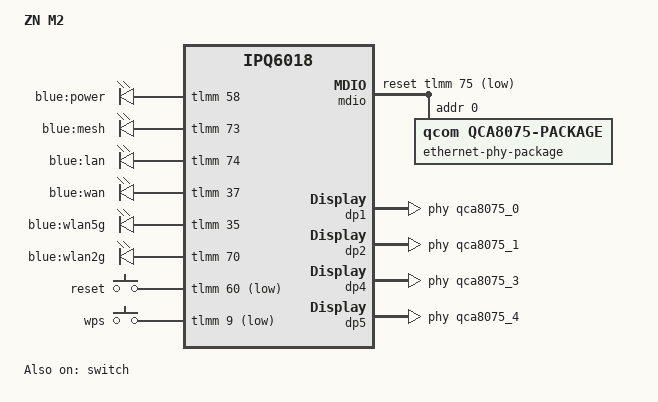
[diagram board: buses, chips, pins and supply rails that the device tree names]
// SPDX-License-Identifier: GPL-2.0-or-later OR MIT
//
// 兆能 M2 (ZN M2) 设备树 —— fallback 版
//
// 说明：本文件是 diy-part1.sh 步骤 A 注入的「兜底」DTS。
// 步骤 B 会优先从 qosmio/openwrt-ipq（或 LibWrt）拉取上游 NSS 版设备 DTS
// 覆盖本文件；只有上游拉取失败时才会用这一版。
//
// 本 fallback 仅依赖 ipq6018-nss.dtsi（由步骤 B 注入到同一目录），
// nss.dtsi 内部已包含基础 SoC 设备树，故本文件无需再 include 其它 dtsi。

/dts-v1/;

#include "ipq6018-nss.dtsi"

/ {
	model = "ZN M2";
	compatible = "zn,m2", "qcom,ipq6018";

	aliases {
		led-boot = &led_power;
		led-failsafe = &led_power;
		led-running = &led_power;
		led-upgrade = &led_power;
	};

	leds {
		compatible = "gpio-leds";

		led_power: power {
			label = "blue:power";
			gpios = <&tlmm 58 GPIO_ACTIVE_HIGH>;
		};

		mesh {
			label = "blue:mesh";
			gpios = <&tlmm 73 GPIO_ACTIVE_HIGH>;
		};

		lan {
			label = "blue:lan";
			gpios = <&tlmm 74 GPIO_ACTIVE_HIGH>;
		};

		wan {
			label = "blue:wan";
			gpios = <&tlmm 37 GPIO_ACTIVE_HIGH>;
		};

		wlan5g {
			label = "blue:wlan5g";
			gpios = <&tlmm 35 GPIO_ACTIVE_HIGH>;
		};

		wlan2g {
			label = "blue:wlan2g";
			gpios = <&tlmm 70 GPIO_ACTIVE_HIGH>;
		};
	};

	keys {
		compatible = "gpio-keys";

		reset {
			label = "reset";
			gpios = <&tlmm 60 GPIO_ACTIVE_LOW>;
			linux,code = <KEY_RESTART>;
		};

		wps {
			label = "wps";
			gpios = <&tlmm 9 GPIO_ACTIVE_LOW>;
			linux,code = <KEY_WPS_BUTTON>;
		};
	};
};

&mdio {
	status = "okay";

	pinctrl-0 = <&mdio_pins>;
	pinctrl-names = "default";
	reset-gpios = <&tlmm 75 GPIO_ACTIVE_LOW>;

	ethernet-phy-package@0 {
		compatible = "qcom,qca8075-package";
		#address-cells = <1>;
		#size-cells = <0>;
		reg = <0>;

		qca8075_0: ethernet-phy@0 {
			compatible = "ethernet-phy-ieee802.3-c22";
			reg = <0>;
		};

		qca8075_1: ethernet-phy@1 {
			compatible = "ethernet-phy-ieee802.3-c22";
			reg = <1>;
		};

		qca8075_3: ethernet-phy@3 {
			compatible = "ethernet-phy-ieee802.3-c22";
			reg = <3>;
		};

		qca8075_4: ethernet-phy@4 {
			compatible = "ethernet-phy-ieee802.3-c22";
			reg = <4>;
		};
	};
};

&switch {
	status = "okay";

	switch_lan_bmp = <(ESS_PORT1 | ESS_PORT2 | ESS_PORT4)>;
	switch_wan_bmp = <ESS_PORT5>;
	switch_mac_mode = <MAC_MODE_PSGMII>;

	qcom,port_phyinfo {
		port@1 {
			port_id = <1>;
			phy_address = <0>;
		};

		port@2 {
			port_id = <2>;
			phy_address = <1>;
		};

		port@4 {
			port_id = <4>;
			phy_address = <3>;
		};

		port@5 {
			port_id = <5>;
			phy_address = <4>;
		};
	};
};

&dp1 {
	status = "okay";
	phy-handle = <&qca8075_0>;
	label = "lan3";
};

&dp2 {
	status = "okay";
	phy-handle = <&qca8075_1>;
	label = "lan2";
};

&dp4 {
	status = "okay";
	phy-handle = <&qca8075_3>;
	label = "lan1";
};

&dp5 {
	status = "okay";
	phy-handle = <&qca8075_4>;
	label = "wan";
};

&edma {
	status = "okay";
};
